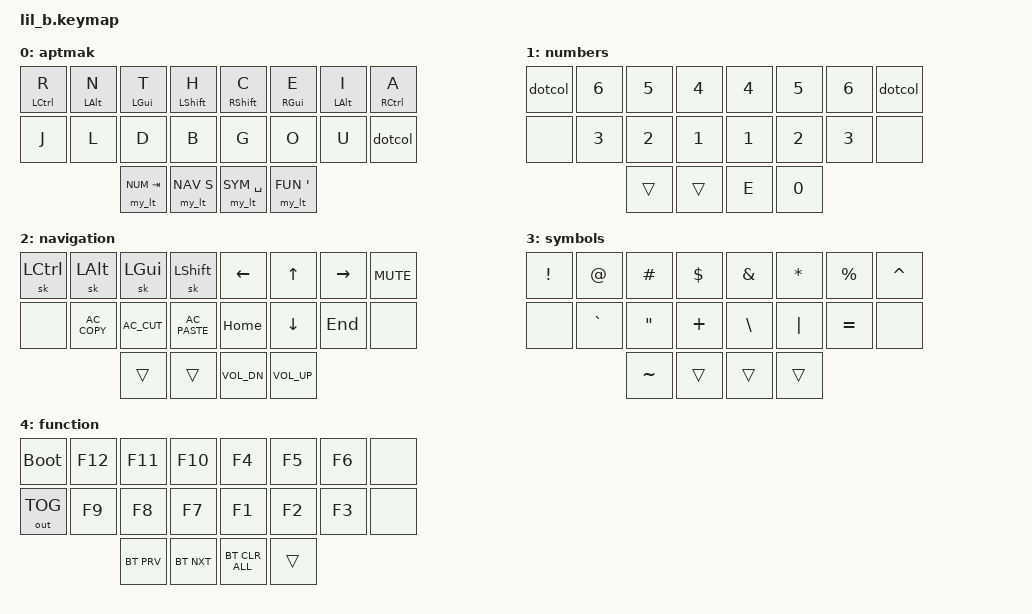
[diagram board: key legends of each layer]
#include <behaviors.dtsi>
#include <dt-bindings/zmk/keys.h>
#include <dt-bindings/zmk/bt.h>
#include <dt-bindings/zmk/outputs.h>

#define APT 0
#define NUM 1
#define NAV 2
#define SYM 3
#define FUN 4


&caps_word {
    continue-list = <UNDERSCORE MINUS BSPC LSHFT RSHFT>;
};

/ {
    macros {
        macro_shiftable_sch: macro_shiftable_sch {
            compatible = "zmk,behavior-macro";
            #binding-cells = <0>;
            bindings
                = <&macro_tap &kp S>
                , <&macro_release &kp RSHIFT>
                , <&macro_tap &kp C &kp H>
                ;
            tap-ms = <10>;
        };
        macro_de_ae: macro_de_ae {
            compatible = "zmk,behavior-macro";
            #binding-cells = <0>;
            bindings
                = <&macro_press &kp RALT>
                , <&macro_tap &kp DQT>
                , <&macro_release &kp RALT>
                , <&macro_tap &kp A>                   
                ;
            tap-ms = <10>;
        };
        macro_de_oe: macro_de_oe {
            compatible = "zmk,behavior-macro";
            #binding-cells = <0>;
            bindings
                = <&macro_press &kp RALT>
                , <&macro_tap &kp DQT>
                , <&macro_release &kp RALT>
                , <&macro_tap &kp O>                   
                ;
            tap-ms = <10>;
        };
        macro_de_ue: macro_de_ue {
            compatible = "zmk,behavior-macro";
            #binding-cells = <0>;
            bindings
                = <&macro_press &kp RALT>
                , <&macro_tap &kp DQT>
                , <&macro_release &kp RALT>
                , <&macro_tap &kp U>                   
                ;
            tap-ms = <10>;
        };
        macro_de_sz: macro_de_sz {
            compatible = "zmk,behavior-macro";
            #binding-cells = <0>;
            bindings
                = <&macro_press &kp RALT>
                , <&macro_tap &kp S>
                , <&macro_release &kp RALT>
                ;
            tap-ms = <10>;
        };
    };
};

/ {
    behaviors {
        hl: homerow_mods_left {
            compatible = "zmk,behavior-hold-tap";
            #binding-cells = <2>;
            flavor = "balanced";
            tapping-term-ms = <150>;
            quick-tap-ms = <100>;
            bindings = <&kp>, <&kp>;
            // opposite side hand keys
            hold-trigger-key-positions = <4 5 6 7 12 13 14 15 16 17 18 19>;
        };
        hr: homerow_mods_right {
            compatible = "zmk,behavior-hold-tap";
            #binding-cells = <2>;
            flavor = "balanced";
            tapping-term-ms = <150>;
            quick-tap-ms = <100>;
            bindings = <&kp>, <&kp>;
            // opposite side hand keys
            hold-trigger-key-positions = <0 1 2 3 8 9 10 11 16 17 18 19>;
        };

        my_lt: my_layer_taps {
            compatible = "zmk,behavior-hold-tap";
            #binding-cells = <2>;
            flavor = "tap-preferred";
            tapping-term-ms = <160>;
            quick-tap-ms = <100>;
            bindings = <&mo &kp>, <&kp>;
        };
        dotcol: dot_colon {
            compatible = "zmk,behavior-mod-morph";
            #binding-cells = <0>;
            bindings = <&kp DOT>, <&kp COLON>;
            mods = <(MOD_LSFT|MOD_RSFT)>;
        };
        comsem: comma_semicolon {
            compatible = "zmk,behavior-mod-morph";
            #binding-cells = <0>;
            bindings = <&kp COMMA>, <&kp SEMI>;
            mods = <(MOD_LSFT|MOD_RSFT)>;
        };
    };
};


#define COMBO(NAME, BINDINGS, KEYPOS) \
combo_##NAME { \
    timeout-ms = <20>; \
    bindings = <BINDINGS>; \
    key-positions = <KEYPOS>; \
    layers = <0>; \
};
#define SLOWCOMBO(NAME, BINDINGS, KEYPOS) \
combo_##NAME { \
    timeout-ms = <40>; \
    bindings = <BINDINGS>; \
    key-positions = <KEYPOS>; \
    layers = <0>; \
};
#define TCOMBO(NAME, BINDINGS, KEYPOS, TIMEOUT) \
combo_##NAME { \
    timeout-ms = <TIMEOUT>; \
    bindings = <BINDINGS>; \
    key-positions = <KEYPOS>; \
    layers = <0>; \
};
#define ALL_COMBO(NAME, BINDINGS, KEYPOS) \
combo_##NAME { \
    timeout-ms = <20>; \
    bindings = <BINDINGS>; \
    key-positions = <KEYPOS>; \
};
#define LAYER_COMBO(NAME, BINDINGS, KEYPOS, LAYERS) \
combo_##NAME { \
    timeout-ms = <20>; \
    bindings = <BINDINGS>; \
    key-positions = <KEYPOS>; \
    layers = <LAYERS>; \
};

#define COMBOS_TOP_ROW(LTRM, LTRI, LTMI, RTIM, RTIR, RTMR) \
	COMBO(_ltrm, LTRM, 1 2) \
	COMBO(_ltri, LTRI, 1 3) \
	COMBO(_ltmi, LTMI, 2 3) \
	COMBO(_rtim, RTIM, 4 5) \
	COMBO(_rtir, RTIR, 4 6) \
	COMBO(_rtmr, RTMR, 5 6)
#define COMBOS_BOT_ROW(LBRM, LBRI, LBMI, RBIM, RBIR, RBMR) \
	COMBO(_lbrm, LBRM, 9 10) \
	COMBO(_lbri, LBRI, 9 11) \
	COMBO(_lbmi, LBMI, 10 11) \
	COMBO(_rbim, RBIM, 12 13) \
	COMBO(_rbir, RBIR, 12 14) \
	COMBO(_rbmr, RBMR, 13 14)


//  ________________________________________________
// |   0 |   1 |   2 |   3 ||   4 |   5 |   6 |   7 |
// |   8 |   9 |  10 |  11 ||  12 |  13 |  14 |  15 |
// |     |    16     |  17 ||  18 |     19    |     |
// --------------------------------------------------

/{
    combos {
        compatible = "zmk,combos";
/* alphas */
                     // 1+2    1+3    2+3    4+5      4+6    5+6
        COMBOS_TOP_ROW(&kp M, &kp K, &kp P, &comsem, &kp V, &dotcol)
        COMBOS_BOT_ROW(&kp W, &kp Z, &kp F, &kp Y,   &kp J, &kp X)
                     // 9+10   9+11  10+11  12+13    12+14  13+14

/* usually on base layer */
        COMBO(q, &kp Q, 2 11)
        ALL_COMBO(enter, &kp ENTER, 4 7)
        ALL_COMBO(esc, &kp ESC, 0 3)
        ALL_COMBO(minus, &kp MINUS, 1 10)
        ALL_COMBO(slash, &kp SLASH, 6 13)
/* numbers */
        LAYER_COMBO(L0, &kp N0, 1 2, 1)
        LAYER_COMBO(L9, &kp N9, 9 10, 1)
        LAYER_COMBO(L8, &kp N8, 2 3, 1)
        LAYER_COMBO(L7, &kp N7, 10 11, 1)
        LAYER_COMBO(R7, &kp N7, 12 13, 1)
        LAYER_COMBO(R8, &kp N8, 4 5, 1)
        LAYER_COMBO(R9, &kp N9, 13 14, 1)
        LAYER_COMBO(R0, &kp N0, 5 6, 1)
        LAYER_COMBO(Lplus, &kp PLUS, 2 11, 1)
        LAYER_COMBO(Rplus, &kp PLUS, 5 12, 1)
/* umlauts */
        COMBO(ae, &macro_de_ae, 15 18)
        COMBO(oe, &macro_de_oe, 5 18)
        COMBO(ue, &macro_de_ue, 6 18)
        COMBO(sz, &macro_de_sz, 1 17)
/* parentheticals */
        COMBO(lbrc, &kp LBRC, 1 9)
        COMBO(lbkt, &kp LBKT, 2 10)
        COMBO(lpar, &kp LPAR, 3 11)
        COMBO(lt, &kp LT, 1 11)
        COMBO(rt, &kp GT, 6 12)
        COMBO(rpar, &kp RPAR, 4 12)
        COMBO(rbkt, &kp RBKT, 5 13)
        COMBO(rbrc, &kp RBRC, 6 14)
/* caps */
        COMBO(caps, &caps_word, 3 4)
        COMBO(capslock, &kp CAPSLOCK, 1 6)
/* deletion */
        SLOWCOMBO(del, &kp DEL, 5 7)
        COMBO(bspc, &kp BSPC, 5 12)
        COMBO(delword, &kp LC(BSPC), 4 14)
    };
};

//  ________________________________________________
// |   0 |   1 |   2 |   3 ||   4 |   5 |   6 |   7 |
// |   8 |   9 |  10 |  11 ||  12 |  13 |  14 |  15 |
// |     |    16     |  17 ||  18 |     19    |     |
//  ------------------------------------------------



/ {
    keymap {
        compatible = "zmk,keymap";

        aptmak {
            bindings = <
                &hl LCTRL R    &hl LALT N     &hl LGUI T     &hl LSHFT H        &hr RSHFT C    &hr RGUI E     &hr LALT I     &hr RCTRL A
                &kp J          &kp L          &kp D          &kp B              &kp G          &kp O          &kp U          &dotcol
                                              &my_lt NUM TAB &my_lt NAV S   &my_lt SYM SPACE   &my_lt FUN SQT
            >;
        };
        numbers {
            bindings = <
                &dotcol        &kp N6         &kp N5         &kp N4             &kp N4         &kp N5         &kp N6         &dotcol
                &none          &kp N3         &kp N2         &kp N1             &kp N1         &kp N2         &kp N3         &none
                                              &trans         &trans             &kp E          &kp N0
            >;
        };
        navigation {
            bindings = <
                &sk LCTRL      &sk LALT       &sk LGUI       &sk LSHFT          &kp LEFT       &kp UP         &kp RIGHT      &kp C_MUTE
                &none          &kp C_AC_COPY  &kp C_AC_CUT   &kp C_AC_PASTE     &kp HOME       &kp DOWN       &kp END        &none
                                              &trans         &trans             &kp C_VOL_DN   &kp C_VOL_UP
            >;
        };
        symbols {
            bindings = <
                &kp EXCL       &kp AT         &kp HASH       &kp DOLLAR         &kp AMPERSAND  &kp ASTERISK   &kp PERCENT    &kp CARET
                &none          &kp GRAVE      &kp DQT        &kp PLUS           &kp BACKSLASH  &kp PIPE       &kp EQUAL      &none
                                              &kp TILDE      &trans             &trans         &trans
            >;
        };
        function {
            bindings = <
                &bootloader    &kp F12        &kp F11        &kp F10            &kp F4         &kp F5         &kp F6         &none
                &out OUT_TOG   &kp F9         &kp F8         &kp F7             &kp F1         &kp F2         &kp F3         &none
                                              &bt BT_PRV     &bt BT_NXT         &bt BT_CLR_ALL &trans
            >;
        };

    };
};
